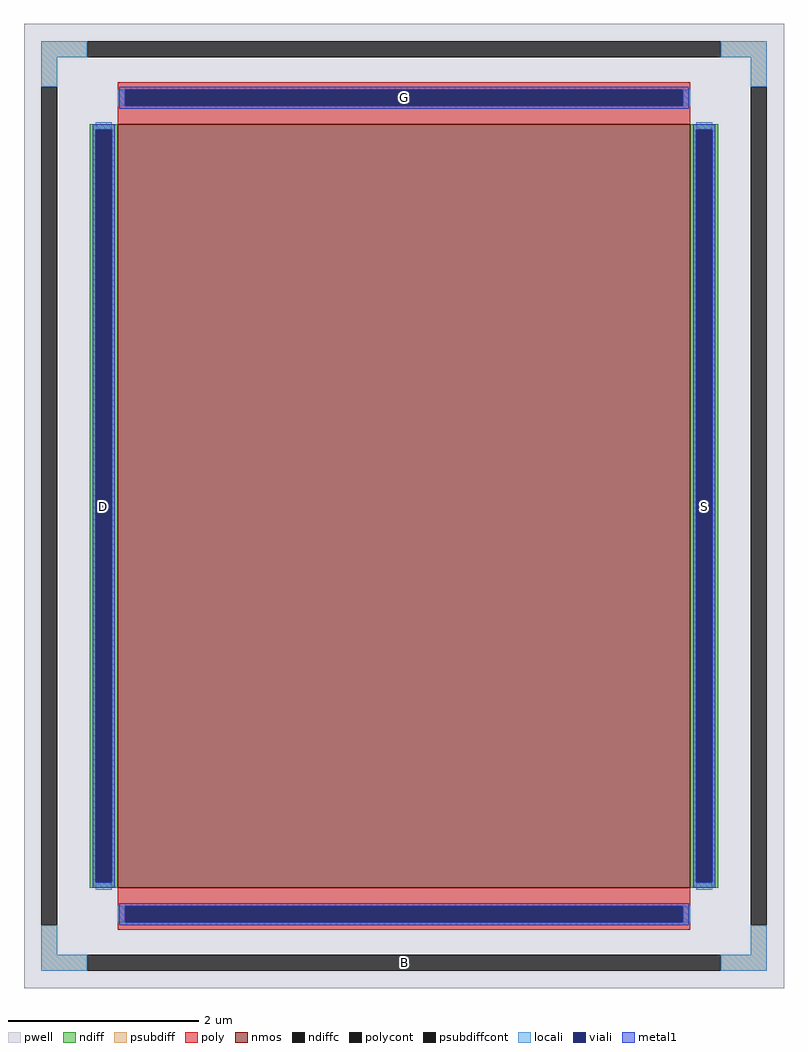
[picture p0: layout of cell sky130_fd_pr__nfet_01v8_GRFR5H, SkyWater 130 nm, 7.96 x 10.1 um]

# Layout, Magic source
magic
tech sky130A
magscale 1 2
<< pwell >>
rect -796 -1010 796 1010
<< nmos >>
rect -600 -800 600 800
<< ndiff >>
rect -658 788 -600 800
rect -658 -788 -646 788
rect -612 -788 -600 788
rect -658 -800 -600 -788
rect 600 788 658 800
rect 600 -788 612 788
rect 646 -788 658 788
rect 600 -800 658 -788
<< ndiffc >>
rect -646 -788 -612 788
rect 612 -788 646 788
<< psubdiff >>
rect -760 940 -664 974
rect 664 940 760 974
rect -760 878 -726 940
rect 726 878 760 940
rect -760 -940 -726 -878
rect 726 -940 760 -878
rect -760 -974 -664 -940
rect 664 -974 760 -940
<< psubdiffcont >>
rect -664 940 664 974
rect -760 -878 -726 878
rect 726 -878 760 878
rect -664 -974 664 -940
<< poly >>
rect -600 872 600 888
rect -600 838 -584 872
rect 584 838 600 872
rect -600 800 600 838
rect -600 -838 600 -800
rect -600 -872 -584 -838
rect 584 -872 600 -838
rect -600 -888 600 -872
<< polycont >>
rect -584 838 584 872
rect -584 -872 584 -838
<< locali >>
rect -760 940 -664 974
rect 664 940 760 974
rect -760 878 -726 940
rect 726 878 760 940
rect -600 838 -584 872
rect 584 838 600 872
rect -646 788 -612 804
rect -646 -804 -612 -788
rect 612 788 646 804
rect 612 -804 646 -788
rect -600 -872 -584 -838
rect 584 -872 600 -838
rect -760 -940 -726 -878
rect 726 -940 760 -878
rect -760 -974 -664 -940
rect 664 -974 760 -940
<< viali >>
rect -584 838 584 872
rect -646 -788 -612 788
rect 612 -788 646 788
rect -584 -872 584 -838
<< metal1 >>
rect -596 872 596 878
rect -596 838 -584 872
rect 584 838 596 872
rect -596 832 596 838
rect -652 788 -606 800
rect -652 -788 -646 788
rect -612 -788 -606 788
rect -652 -800 -606 -788
rect 606 788 652 800
rect 606 -788 612 788
rect 646 -788 652 788
rect 606 -800 652 -788
rect -596 -838 596 -832
rect -596 -872 -584 -838
rect 584 -872 596 -838
rect -596 -878 596 -872
<< labels >>
rlabel psubdiffcont 0 -957 0 -957 0 B
port 5 nsew
rlabel ndiffc -629 0 -629 0 0 D
port 6 nsew
rlabel ndiffc 629 0 629 0 0 S
port 7 nsew
rlabel polycont 0 855 0 855 0 G
port 8 nsew
<< properties >>
string FIXED_BBOX -743 -957 743 957
string gencell sky130_fd_pr__nfet_01v8
string library sky130
string parameters w 8.0 l 6.0 m 1 nf 1 diffcov 100 polycov 100 guard 1 glc 1 grc 1 gtc 1 gbc 1 tbcov 100 rlcov 100 topc 1 botc 1 poverlap 0 doverlap 1 lmin 0.15 wmin 0.42 class mosfet compatible {sky130_fd_pr__nfet_01v8 sky130_fd_pr__nfet_01v8_lvt  sky130_fd_bs_flash__special_sonosfet_star  sky130_fd_pr__nfet_g5v0d10v5 sky130_fd_pr__nfet_05v0_nvt  sky130_fd_pr__nfet_03v3_nvt} full_metal 1 conn_gates 0 viasrc 100 viadrn 100 viagate 100 viagb 0 viagr 0 viagl 0 viagt 0 doports 1
<< end >>
